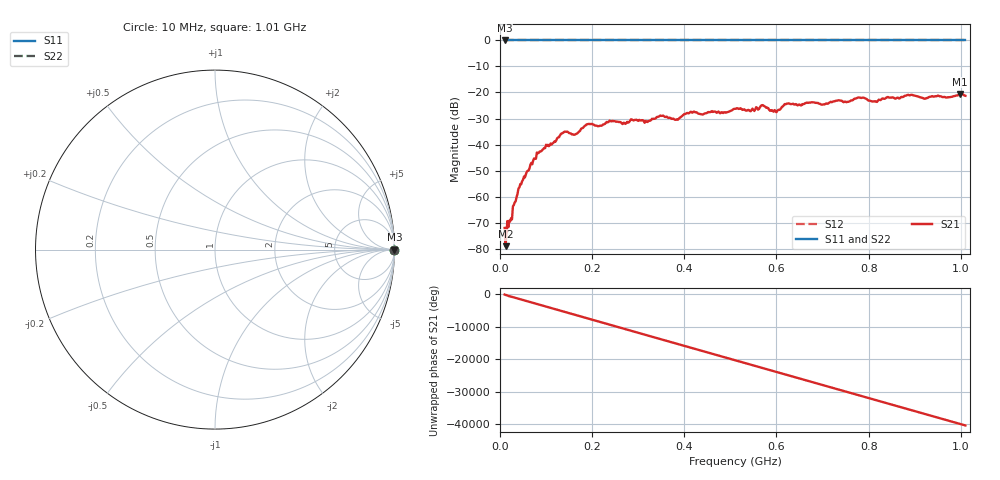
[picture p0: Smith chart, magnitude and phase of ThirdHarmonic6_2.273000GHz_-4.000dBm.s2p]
! 8/17/2025 2:53:21 AM
! C:\ANRITSUVNA\TEMP\TEMP.S2P
! CHANNEL.1
! TR.MEASUREMENT
! RAW.DATA
! RF.CORRECTION.OFF
! AVERAGING.OFF
! IF.BANDWIDTH: 5KHZ
! SWEEPTYPE:  FREQ.SWEEP(Linear)
! Reference Plane Port Info
! PORT:  PORT1  PORT2
! DISTANCE:  0  m  0  m
! TIME:  0  s  0  s
! PHASE.OFFSET:  0  deg.  0  deg.
! LOSS:  0  dB  0  dB
! REF.LOSS:  0  dB  0  dB
! REF.FREQ:  0  Hz  0  Hz
! Power Info
! POWER:  -20  dBm  -20  dBm
! EFF.POWER:  -20  dBm  -20  dBm
! SOURCE.ATTEN:  0  dB  0  dB
! TEST.ATTEN:  0  dB  0  dB
# GHZ S RI R 50.0
! FREQ.GHZ  S11RE  S11IM  S21RE  S21IM  S12RE  S12IM  S22RE  S22IM
!; PortSelection: Port_12
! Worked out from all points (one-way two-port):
!   501 points, 10 MHz to 1.01 GHz, reference 50 ohm
!   highest |S21| = -20.59 dB at 998 MHz (marker M1); lowest = -79.1 dB at 12 MHz (marker M2)
!   lowest |S11| = 0.0 dB at 10 MHz (marker M3)
!   |S11| at or under -10 dB: nowhere
!   |S22| runs from 0.0 to 0.0 dB; largest |S21 - S12| = 1.1
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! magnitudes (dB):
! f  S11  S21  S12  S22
! 10 MHz  0.0  -72.1  0.0  0.0
! 12 MHz  0.0  -79.1  0.0  0.0
! 22 MHz  0.0  -69.6  0.0  0.0
! 44 MHz  0.0  -55.2  0.0  0.0
! 84 MHz  0.0  -43.2  0.0  0.0
! 136 MHz  0.0  -35.6  0.0  0.0
! 164 MHz  0.0  -36.0  0.0  0.0
! 178 MHz  0.0  -33.7  0.0  0.0
! 192 MHz  0.0  -32.1  0.0  0.0
! 318 MHz  0.0  -31.1  0.0  0.0
! 344 MHz  0.0  -29.3  0.0  0.0
! 382 MHz  0.0  -30.5  0.0  0.0
! 416 MHz  0.0  -27.7  0.0  0.0
! 510 MHz  0.0  -26.3  0.0  0.0
! 548 MHz  0.0  -26.2  0.0  0.0
! 570 MHz  0.0  -24.8  0.0  0.0
! 596 MHz  0.0  -26.8  0.0  0.0
! 622 MHz  0.0  -24.3  0.0  0.0
! 678 MHz  0.0  -23.8  0.0  0.0
! 844 MHz  0.0  -21.9  0.0  0.0
! 998 MHz  0.0  -20.6  0.0  0.0
! 1.01 GHz  0.0  -21.3  0.0  0.0
